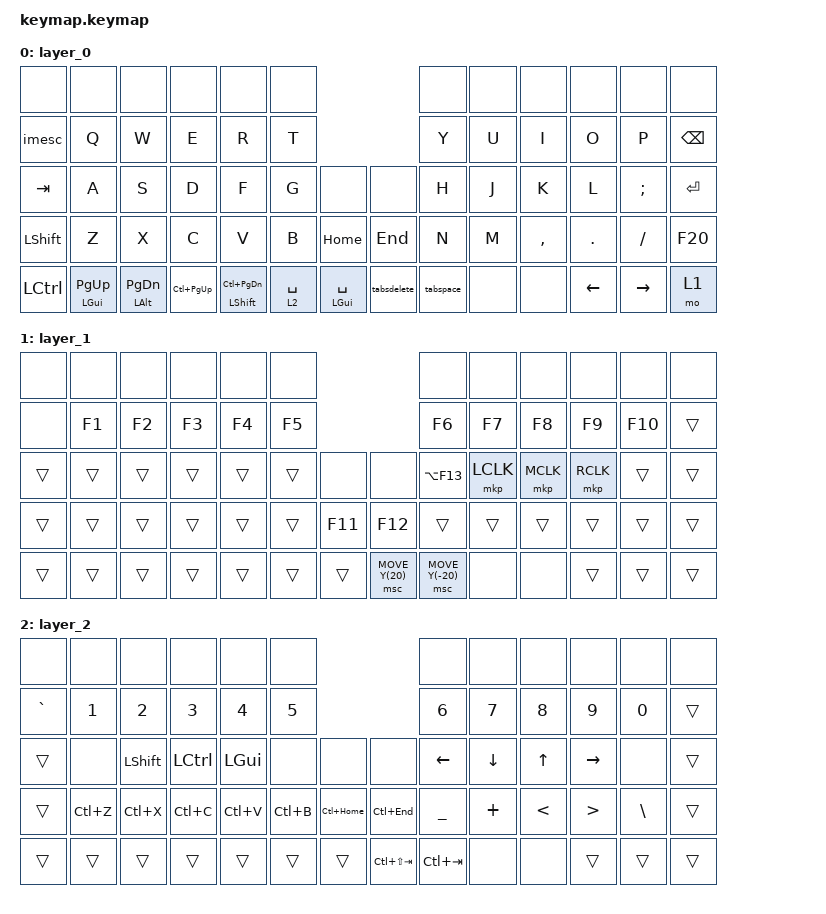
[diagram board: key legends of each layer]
#include <behaviors.dtsi>
#include <dt-bindings/zmk/keys.h>
#include <dt-bindings/zmk/pointing.h>

/ {
    combos {
        compatible = "zmk,combos";

        cminus {
            bindings = <&kp MINUS>;
            key-positions = <9 8>;
            layers = <0>;
        };

        cequal {
            bindings = <&kp EQUAL>;
            key-positions = <10 9>;
            layers = <0>;
        };

        cquote {
            bindings = <&kp SQT>;
            key-positions = <22 21>;
            layers = <0>;
        };

        cbksl {
            bindings = <&kp BACKSLASH>;
            key-positions = <36 37>;
            layers = <0>;
        };

        castr {
            bindings = <&kp ASTRK>;
            key-positions = <9 8 7>;
            layers = <0>;
        };

        camps {
            bindings = <&kp AMPERSAND>;
            key-positions = <8 7>;
            layers = <0>;
        };

        ccaret {
            bindings = <&kp CARET>;
            key-positions = <7 6>;
            layers = <0>;
        };

        cprcnt {
            bindings = <&kp PERCENT>;
            key-positions = <5 4>;
            layers = <0>;
        };

        cdllr {
            bindings = <&kp DOLLAR>;
            key-positions = <4 3>;
            layers = <0>;
        };

        chash {
            bindings = <&kp POUND>;
            key-positions = <3 2 4>;
            layers = <0>;
        };

        cat {
            bindings = <&kp AT_SIGN>;
            key-positions = <2 3>;
            layers = <0>;
        };

        cexcl {
            bindings = <&kp EXCLAMATION>;
            key-positions = <1 2>;
            layers = <0>;
        };

        ctilda {
            bindings = <&kp TILDE>;
            key-positions = <0 1>;
            layers = <0>;
        };

        cpipe {
            bindings = <&kp PIPE>;
            key-positions = <22 23>;
            layers = <0>;
        };

        clpar {
            bindings = <&kp LEFT_PARENTHESIS>;
            key-positions = <16 15>;
            layers = <0>;
        };

        crpar {
            bindings = <&kp RIGHT_PARENTHESIS>;
            key-positions = <19 20>;
            layers = <0>;
        };

        clbkt {
            bindings = <&kp LEFT_BRACKET>;
            key-positions = <17 16>;
            layers = <0>;
        };

        crbkt {
            bindings = <&kp RIGHT_BRACKET>;
            key-positions = <18 19>;
            layers = <0>;
        };

        clbrc1 {
            bindings = <&kp LEFT_BRACE>;
            key-positions = <16 15 14>;
            layers = <0>;
        };

        crbrc1 {
            bindings = <&kp RIGHT_BRACE>;
            key-positions = <19 20 21>;
            layers = <0>;
        };

        clbrc2 {
            bindings = <&kp LEFT_BRACE>;
            key-positions = <16 15 17>;
            layers = <0>;
        };

        crbrc2 {
            bindings = <&kp RIGHT_BRACE>;
            key-positions = <19 18 20>;
            layers = <0>;
        };

        cgt {
            bindings = <&kp GREATER_THAN>;
            key-positions = <36 35>;
            layers = <0>;
        };

        clt {
            bindings = <&kp LESS_THAN>;
            key-positions = <35 34>;
            layers = <0>;
        };

        cgrave {
            bindings = <&kp GRAVE>;
            key-positions = <0 1>;
            layers = <0>;
        };

        cunder {
            bindings = <&kp UNDERSCORE>;
            key-positions = <9 8>;
            layers = <2>;
        };

        cplus {
            bindings = <&kp PLUS>;
            key-positions = <10 9>;
            layers = <2>;
        };
    };

    macros {
        imesc: imesc {
            compatible = "zmk,behavior-macro";
            #binding-cells = <0>;
            bindings = <&macro_tap>, <&kp LANG1 &kp ESC>;

            label = "IMESC";
        };

        vimshiftd: vimd {
            compatible = "zmk,behavior-macro";
            #binding-cells = <0>;
            bindings =
                <&macro_press>,
                <&kp LSHFT>,
                <&macro_tap>,
                <&kp END &kp DEL>,
                <&macro_release>,
                <&kp LSHIFT>;

            label = "VIMD";
        };

        vimddm: vimdd {
            compatible = "zmk,behavior-macro";
            #binding-cells = <0>;
            bindings =
                <&macro_tap>,
                <&kp HOME>,
                <&macro_press>,
                <&kp LSHFT>,
                <&macro_tap>,
                <&kp END &kp DEL>,
                <&macro_release>,
                <&kp LSHIFT>;

            label = "VIMDD";
        };

        vimshiftc: vimshiftc {
            compatible = "zmk,behavior-macro";
            #binding-cells = <0>;
            bindings =
                <&macro_press>,
                <&kp LSHFT>,
                <&macro_tap>,
                <&kp END &kp DEL>,
                <&macro_release>,
                <&kp LSHIFT>,
                <&macro_tap>,
                <&to 0>;

            label = "VIMSHIFTC";
        };

        vimccm: vimcc {
            compatible = "zmk,behavior-macro";
            #binding-cells = <0>;
            bindings =
                <&macro_tap>,
                <&kp HOME>,
                <&macro_press>,
                <&kp LSHFT>,
                <&macro_tap>,
                <&kp END &kp DEL>,
                <&macro_release>,
                <&kp LSHIFT>,
                <&macro_tap>,
                <&to 0>;

            label = "VIMCC";
        };

        vimsm: vims {
            compatible = "zmk,behavior-macro";
            #binding-cells = <0>;
            bindings = <&macro_tap>, <&kp DEL &to 0>;

            label = "VIMS";
        };

        vimshifta: vimshifti {
            compatible = "zmk,behavior-macro";
            #binding-cells = <0>;
            bindings = <&macro_tap>, <&kp END &to 0>;

            label = "VIMSHIFTI";
        };

        vimam: vimam {
            compatible = "zmk,behavior-macro";
            #binding-cells = <0>;
            bindings = <&macro_tap>, <&kp RIGHT &to 0>;

            label = "VIMAM";
        };
    };

    behaviors {
        vimd: vimd {
            compatible = "zmk,behavior-mod-morph";
            label = "VIMD";
            bindings = <&vimdd>, <&vimshiftd>;

            #binding-cells = <0>;
            mods = <(MOD_LSFT)>;
        };

        vimc: vimc {
            compatible = "zmk,behavior-mod-morph";
            label = "VIMC";
            bindings = <&vimcc>, <&vimshiftc>;

            #binding-cells = <0>;
            mods = <(MOD_LSFT)>;
        };

        vimdd: vimdd {
            compatible = "zmk,behavior-tap-dance";
            label = "VIMDD";
            #binding-cells = <0>;
            bindings = <&none>, <&vimddm>;
        };

        vimcc: vimcc {
            compatible = "zmk,behavior-tap-dance";
            label = "VIMCC";
            #binding-cells = <0>;
            bindings = <&none>, <&vimccm>;
        };

        vims: vims {
            compatible = "zmk,behavior-mod-morph";
            label = "VIMS";
            bindings = <&vimsm>, <&vimccm>;

            #binding-cells = <0>;
            mods = <(MOD_LSFT)>;
        };

        vima: vima {
            compatible = "zmk,behavior-mod-morph";
            label = "VIMA";
            bindings = <&vimam>, <&vimshifta>;

            #binding-cells = <0>;
            mods = <(MOD_LSFT)>;
        };

        vimr: vimr {
            compatible = "zmk,behavior-mod-morph";
            label = "VIMR";
            bindings = <&none>, <&kp LC(Y)>;

            #binding-cells = <0>;
            mods = <(MOD_LCTL)>;
        };

        vimgg: vimgg {
            compatible = "zmk,behavior-tap-dance";
            label = "VIMGG";
            #binding-cells = <0>;
            bindings = <&none>, <&kp HOME>;
        };

        vimg: vimg {
            compatible = "zmk,behavior-mod-morph";
            label = "VIMG";
            bindings = <&vimgg>, <&kp END>;

            #binding-cells = <0>;
            mods = <(MOD_LSFT)>;
        };

        tabspace: tabspace {
            compatible = "zmk,behavior-mod-morph";
            label = "TABSPACE";
            bindings = <&kp SPACE>, <&kp TAB>;

            #binding-cells = <0>;
            mods = <(MOD_LCTL|MOD_LGUI)>;
            keep-mods = <(MOD_LCTL|MOD_LGUI)>;
        };

        tabsdelete: tabsdelete {
            compatible = "zmk,behavior-mod-morph";
            label = "TABSDELETE";
            bindings = <&kp DEL>, <&kp LS(TAB)>;

            #binding-cells = <0>;
            mods = <(MOD_LCTL|MOD_LGUI)>;
            keep-mods = <(MOD_LCTL|MOD_LGUI)>;
        };

        h6: h6 {
            compatible = "zmk,behavior-mod-morph";
            label = "H6";
            bindings = <&kp N6>, <&kp LEFT>;

            #binding-cells = <0>;
            mods = <(MOD_LCTL|MOD_LSFT|MOD_LGUI)>;
            keep-mods = <(MOD_LCTL|MOD_LSFT)>;
        };

        j7: j7 {
            compatible = "zmk,behavior-mod-morph";
            label = "J7";
            bindings = <&kp N7>, <&kp DOWN>;

            #binding-cells = <0>;
            mods = <(MOD_LCTL|MOD_LSFT|MOD_LGUI)>;
            keep-mods = <(MOD_LCTL|MOD_LSFT)>;
        };

        k8: k8 {
            compatible = "zmk,behavior-mod-morph";
            label = "K8";
            bindings = <&kp N8>, <&kp UP>;

            #binding-cells = <0>;
            mods = <(MOD_RCTL|MOD_RSFT)>;
            keep-mods = <(MOD_RCTL)>;
        };

        l9: l9 {
            compatible = "zmk,behavior-mod-morph";
            label = "L9";
            bindings = <&kp N9>, <&kp RIGHT>;

            #binding-cells = <0>;
            mods = <(MOD_LCTL|MOD_LSFT|MOD_LGUI)>;
            keep-mods = <(MOD_LCTL|MOD_LSFT)>;
        };
    };

    keymap {
        compatible = "zmk,keymap";

        layer_0 {
            bindings = <
&none       &none           &none           &none          &none                 &none                                     &none      &none  &none      &none     &none      &none
&imesc      &kp Q           &kp W           &kp E          &kp R                 &kp T                                     &kp Y      &kp U  &kp I      &kp O     &kp P      &kp BSPC
&kp TAB     &kp A           &kp S           &kp D          &kp F                 &kp G        &none           &none        &kp H      &kp J  &kp K      &kp L     &kp SEMI   &kp ENTER
&kp LSHIFT  &kp Z           &kp X           &kp C          &kp V                 &kp B        &kp HOME        &kp END      &kp N      &kp M  &kp COMMA  &kp DOT   &kp FSLH   &kp F20
&kp LCTRL   &mt LGUI PG_UP  &mt LALT PG_DN  &kp LC(PG_UP)  &mt LSHIFT LC(PG_DN)  &lt 2 SPACE  &mt LGUI SPACE  &tabsdelete  &tabspace  &none  &none      &kp LEFT  &kp RIGHT  &mo 1
            >;
        };

        layer_1 {
            bindings = <
&none   &none   &none   &none   &none   &none                             &none             &none      &none      &none      &none    &none
&none   &kp F1  &kp F2  &kp F3  &kp F4  &kp F5                            &kp F6            &kp F7     &kp F8     &kp F9     &kp F10  &trans
&trans  &trans  &trans  &trans  &trans  &trans  &none    &none            &kp LA(F13)       &mkp LCLK  &mkp MCLK  &mkp RCLK  &trans   &trans
&trans  &trans  &trans  &trans  &trans  &trans  &kp F11  &kp F12          &trans            &trans     &trans     &trans     &trans   &trans
&trans  &trans  &trans  &trans  &trans  &trans  &trans   &msc MOVE_Y(20)  &msc MOVE_Y(-20)  &none      &none      &trans     &trans   &trans
            >;
        };

        layer_2 {
            bindings = <
&none      &none      &none           &none      &none         &none                                     &none           &none     &none          &none             &none          &none
&kp GRAVE  &kp N1     &kp N2          &kp N3     &kp N4        &kp N5                                    &kp N6          &kp N7    &kp N8         &kp N9            &kp N0         &trans
&trans     &none      &kp LEFT_SHIFT  &kp LCTRL  &kp LEFT_GUI  &none      &none         &none            &kp LEFT        &kp DOWN  &kp UP         &kp RIGHT         &none          &trans
&trans     &kp LC(Z)  &kp LC(X)       &kp LC(C)  &kp LC(V)     &kp LC(B)  &kp LC(HOME)  &kp LC(END)      &kp UNDERSCORE  &kp PLUS  &kp LESS_THAN  &kp GREATER_THAN  &kp BACKSLASH  &trans
&trans     &trans     &trans          &trans     &trans        &trans     &trans        &kp LC(LS(TAB))  &kp LC(TAB)     &none     &none          &trans            &trans         &trans
            >;
        };
    };
};
